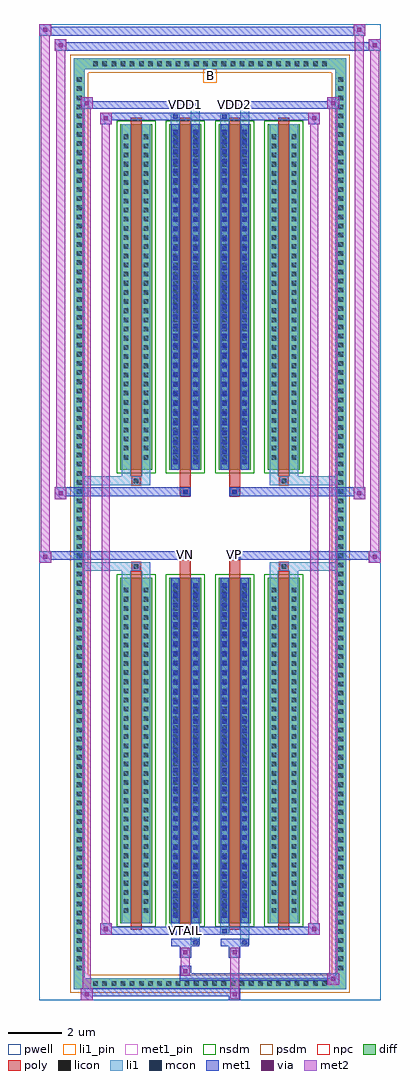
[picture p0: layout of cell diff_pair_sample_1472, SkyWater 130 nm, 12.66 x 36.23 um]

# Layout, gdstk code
import gdstk
lib = gdstk.Library(unit=1e-6, precision=5e-09)
def R(c, l, rs):  # rectangles x0, y0, x1, y1
    for r in rs: c.add(gdstk.rectangle(r[:2], r[2:], *l))
def A(c, l, x, y, w, h, nx, ny, dx, dy):  # array of equal rectangles
    R(c, l, [(x+i*dx, y+j*dy, x+i*dx+w, y+j*dy+h) for i in range(nx) for j in range(ny)])
def P(c, l, *ps):  # polygons
    for p in ps: c.add(gdstk.Polygon(p, *l))
pwell = (64, 44)
diff = (65, 20)
poly = (66, 20)
licon = (66, 44)
li1_pin = (67, 16)
li1 = (67, 20)
mcon = (67, 44)
met1_pin = (68, 16)
met1 = (68, 20)
via = (68, 44)
met2 = (69, 20)
nsdm = (93, 44)
psdm = (94, 20)
npc = (95, 20)

diff_pair_sample_1472 = lib.new_cell('diff_pair_sample_1472')
R(diff_pair_sample_1472, pwell, [(-6.33,-17.68,6.33,18.55), (-3.65,-15.87,-0.01,-0.815), (0.01,-15.87,3.65,-0.815), (-3.65,0.815,-0.01,15.87), (0.01,0.815,3.65,15.87)])
A(diff_pair_sample_1472, diff, -4.455, -17.28, 0.41, 0.41, 26, 2, 0.34, 34.15)
A(diff_pair_sample_1472, diff, -5.06, -16.695, 0.41, 0.41, 1, 98, 0, 0.34)
A(diff_pair_sample_1472, diff, 4.65, -16.695, 0.41, 0.41, 1, 98, 0, 0.34)
A(diff_pair_sample_1472, diff, -3.34, -14.825, 1.19, 12.82, 4, 2, 1.83, 16.83)
R(diff_pair_sample_1472, diff, [(-4.455,-17.28,4.455,-16.87), (-5.06,-16.695,-4.65,16.695), (4.65,-16.695,5.06,16.695), (-4.455,16.87,4.455,17.28)])
P(diff_pair_sample_1472, diff, [(5.06,17.28),(-5.06,17.28),(-5.06,-16.87),(-4.65,-16.87),(-4.65,16.87),(4.65,16.87),(4.65,-16.87),(-4.65,-16.87),(-5.06,-16.87),(-5.06,-17.28),(5.06,-17.28)])
A(diff_pair_sample_1472, poly, -2.95, -15.075, 0.41, 13.32, 4, 2, 1.83, 16.83)
R(diff_pair_sample_1472, poly, [(-2.91,-1.755,-2.58,-1.425), (-2.91,-1.755,-2.58,-1.425), (-1.12,-1.755,-0.71,-1.345), (0.71,-1.755,1.12,-1.345), (2.58,-1.755,2.91,-1.425), (2.58,-1.755,2.91,-1.425), (-1.12,-1.345,-0.71,-1.015), (-1.08,-1.345,-0.75,-1.015), (0.71,-1.345,1.12,-1.015), (0.75,-1.345,1.08,-1.015), (-1.12,1.015,-0.71,1.345), (-1.08,1.015,-0.75,1.345), (0.71,1.015,1.12,1.345), (0.75,1.015,1.08,1.345), (-1.12,1.345,-0.71,1.755), (0.71,1.345,1.12,1.755), (-2.91,1.425,-2.58,1.755), (-2.91,1.425,-2.58,1.755), (2.58,1.425,2.91,1.755), (2.58,1.425,2.91,1.755)])
A(diff_pair_sample_1472, licon, -4.335, -17.16, 0.17, 0.17, 26, 2, 0.34, 34.15)
A(diff_pair_sample_1472, licon, -4.94, -16.575, 0.17, 0.17, 1, 98, 0, 0.34)
A(diff_pair_sample_1472, licon, 4.77, -16.575, 0.17, 0.17, 1, 98, 0, 0.34)
A(diff_pair_sample_1472, licon, -3.2, -14.45, 0.17, 0.17, 1, 36, 0, 0.34)
A(diff_pair_sample_1472, licon, -2.46, -14.45, 0.17, 0.17, 1, 36, 0, 0.34)
A(diff_pair_sample_1472, licon, -1.37, -14.45, 0.17, 0.17, 1, 36, 0, 0.34)
A(diff_pair_sample_1472, licon, -0.63, -14.45, 0.17, 0.17, 1, 36, 0, 0.34)
A(diff_pair_sample_1472, licon, 0.46, -14.45, 0.17, 0.17, 1, 36, 0, 0.34)
A(diff_pair_sample_1472, licon, 1.2, -14.45, 0.17, 0.17, 1, 36, 0, 0.34)
A(diff_pair_sample_1472, licon, 2.29, -14.45, 0.17, 0.17, 1, 36, 0, 0.34)
A(diff_pair_sample_1472, licon, 3.03, -14.45, 0.17, 0.17, 1, 36, 0, 0.34)
A(diff_pair_sample_1472, licon, -3.2, 2.38, 0.17, 0.17, 1, 36, 0, 0.34)
A(diff_pair_sample_1472, licon, -2.46, 2.38, 0.17, 0.17, 1, 36, 0, 0.34)
A(diff_pair_sample_1472, licon, -1.37, 2.38, 0.17, 0.17, 1, 36, 0, 0.34)
A(diff_pair_sample_1472, licon, -0.63, 2.38, 0.17, 0.17, 1, 36, 0, 0.34)
A(diff_pair_sample_1472, licon, 0.46, 2.38, 0.17, 0.17, 1, 36, 0, 0.34)
A(diff_pair_sample_1472, licon, 1.2, 2.38, 0.17, 0.17, 1, 36, 0, 0.34)
A(diff_pair_sample_1472, licon, 2.29, 2.38, 0.17, 0.17, 1, 36, 0, 0.34)
A(diff_pair_sample_1472, licon, 3.03, 2.38, 0.17, 0.17, 1, 36, 0, 0.34)
R(diff_pair_sample_1472, licon, [(-2.83,-1.675,-2.66,-1.505), (2.66,-1.675,2.83,-1.505), (-1,-1.265,-0.83,-1.095), (0.83,-1.265,1,-1.095), (-1,1.095,-0.83,1.265), (0.83,1.095,1,1.265), (-2.83,1.505,-2.66,1.675), (2.66,1.505,2.83,1.675)])
R(diff_pair_sample_1472, li1_pin, [(-0.25,16.37,0.25,16.87)])
A(diff_pair_sample_1472, li1, -4.415, -17.24, 0.33, 0.33, 26, 2, 0.34, 34.15)
A(diff_pair_sample_1472, li1, -5.02, -16.655, 0.33, 0.33, 1, 98, 0, 0.34)
A(diff_pair_sample_1472, li1, 4.69, -16.655, 0.33, 0.33, 1, 98, 0, 0.34)
A(diff_pair_sample_1472, li1, -1.37, -14.62, 0.17, 0.17, 1, 35, 0, 0.36)
A(diff_pair_sample_1472, li1, -0.63, -14.62, 0.17, 0.17, 1, 35, 0, 0.36)
A(diff_pair_sample_1472, li1, 0.46, -14.62, 0.17, 0.17, 1, 35, 0, 0.36)
A(diff_pair_sample_1472, li1, 1.2, -14.62, 0.17, 0.17, 1, 35, 0, 0.36)
A(diff_pair_sample_1472, li1, -3.28, -14.53, 0.33, 0.33, 1, 36, 0, 0.34)
A(diff_pair_sample_1472, li1, -2.54, -14.53, 0.33, 0.33, 1, 36, 0, 0.34)
A(diff_pair_sample_1472, li1, -1.45, -14.53, 0.33, 0.33, 1, 36, 0, 0.34)
A(diff_pair_sample_1472, li1, -0.71, -14.53, 0.33, 0.33, 1, 36, 0, 0.34)
A(diff_pair_sample_1472, li1, 0.38, -14.53, 0.33, 0.33, 1, 36, 0, 0.34)
A(diff_pair_sample_1472, li1, 1.12, -14.53, 0.33, 0.33, 1, 36, 0, 0.34)
A(diff_pair_sample_1472, li1, 2.21, -14.53, 0.33, 0.33, 1, 36, 0, 0.34)
A(diff_pair_sample_1472, li1, 2.95, -14.53, 0.33, 0.33, 1, 36, 0, 0.34)
A(diff_pair_sample_1472, li1, -1.37, 2.21, 0.17, 0.17, 1, 35, 0, 0.36)
A(diff_pair_sample_1472, li1, -0.63, 2.21, 0.17, 0.17, 1, 35, 0, 0.36)
A(diff_pair_sample_1472, li1, 0.46, 2.21, 0.17, 0.17, 1, 35, 0, 0.36)
A(diff_pair_sample_1472, li1, 1.2, 2.21, 0.17, 0.17, 1, 35, 0, 0.36)
A(diff_pair_sample_1472, li1, -3.28, 2.3, 0.33, 0.33, 1, 36, 0, 0.34)
A(diff_pair_sample_1472, li1, -2.54, 2.3, 0.33, 0.33, 1, 36, 0, 0.34)
A(diff_pair_sample_1472, li1, -1.45, 2.3, 0.33, 0.33, 1, 36, 0, 0.34)
A(diff_pair_sample_1472, li1, -0.71, 2.3, 0.33, 0.33, 1, 36, 0, 0.34)
A(diff_pair_sample_1472, li1, 0.38, 2.3, 0.33, 0.33, 1, 36, 0, 0.34)
A(diff_pair_sample_1472, li1, 1.12, 2.3, 0.33, 0.33, 1, 36, 0, 0.34)
A(diff_pair_sample_1472, li1, 2.21, 2.3, 0.33, 0.33, 1, 36, 0, 0.34)
A(diff_pair_sample_1472, li1, 2.95, 2.3, 0.33, 0.33, 1, 36, 0, 0.34)
R(diff_pair_sample_1472, li1, [(-5.06,-17.28,-4.65,-16.87), (-5.06,-17.28,-4.65,-16.87), (-4.65,-17.28,4.65,-16.87), (4.65,-17.28,5.06,-16.87), (4.65,-17.28,5.06,-16.87), (-5.06,-16.87,-4.65,16.87), (4.65,-16.87,5.06,16.87), (-0.71,-15.63,-0.38,-14.825), (-0.63,-15.63,-0.46,-15.46), (1.12,-15.63,1.45,-14.825), (1.2,-15.63,1.37,-15.46), (-1.45,-15.2,-1.12,-14.825), (-1.37,-15.2,-1.2,-15.03), (0.38,-15.2,0.71,-14.825), (0.46,-15.2,0.63,-15.03), (-3.28,-14.825,-2.95,-2.005), (-2.54,-14.825,-2.21,-2.005), (-1.45,-14.825,-1.12,-2.005), (-0.71,-14.825,-0.38,-2.005), (0.38,-14.825,0.71,-2.005), (1.12,-14.825,1.45,-2.005), (2.21,-14.825,2.54,-2.005), (2.95,-14.825,3.28,-2.005), (-1.37,-14.62,-1.2,-2.21), (-0.63,-14.62,-0.46,-2.21), (0.46,-14.62,0.63,-2.21), (1.2,-14.62,1.37,-2.21), (-3.28,-2.005,-2.95,-1.425), (-2.54,-2.005,-2.21,-1.425), (2.21,-2.005,2.54,-1.425), (2.95,-2.005,3.28,-1.425), (-5.06,-1.755,-2.91,-1.425), (-3.28,-1.755,-2.91,-1.425), (-2.91,-1.755,-2.58,-1.425), (-2.58,-1.755,-2.21,-1.425), (2.21,-1.755,2.58,-1.425), (2.58,-1.755,2.91,-1.425), (2.58,-1.755,5.06,-1.425), (2.91,-1.755,3.28,-1.425), (-1.08,-1.345,-0.75,-1.015), (0.75,-1.345,1.08,-1.015), (-1.08,1.015,-0.75,1.345), (0.75,1.015,1.08,1.345), (-5.06,1.425,-2.91,1.755), (-3.28,1.425,-2.91,1.755), (-3.28,1.425,-2.95,2.005), (-2.91,1.425,-2.58,1.755), (-2.58,1.425,-2.21,1.755), (-2.54,1.425,-2.21,2.005), (2.21,1.425,2.58,1.755), (2.21,1.425,2.54,2.005), (2.58,1.425,2.91,1.755), (2.58,1.425,5.06,1.755), (2.91,1.425,3.28,1.755), (2.95,1.425,3.28,2.005), (-3.28,2.005,-2.95,14.825), (-2.54,2.005,-2.21,14.825), (-1.45,2.005,-1.12,14.825), (-0.71,2.005,-0.38,14.825), (0.38,2.005,0.71,14.825), (1.12,2.005,1.45,14.825), (2.21,2.005,2.54,14.825), (2.95,2.005,3.28,14.825), (-1.37,2.21,-1.2,14.62), (-0.63,2.21,-0.46,14.62), (0.46,2.21,0.63,14.62), (1.2,2.21,1.37,14.62), (-1.45,14.825,-1.12,15.2), (-0.71,14.825,-0.38,15.63), (0.38,14.825,0.71,15.2), (1.12,14.825,1.45,15.63), (-1.37,15.03,-1.2,15.2), (0.46,15.03,0.63,15.2), (-0.63,15.46,-0.46,15.63), (1.2,15.46,1.37,15.63), (-5.06,16.87,-4.65,17.28), (-5.06,16.87,-4.65,17.28), (-4.65,16.87,4.65,17.28), (4.65,16.87,5.06,17.28), (4.65,16.87,5.06,17.28)])
A(diff_pair_sample_1472, mcon, -1.37, -14.62, 0.17, 0.17, 1, 35, 0, 0.36)
A(diff_pair_sample_1472, mcon, -0.63, -14.62, 0.17, 0.17, 1, 35, 0, 0.36)
A(diff_pair_sample_1472, mcon, 0.46, -14.62, 0.17, 0.17, 1, 35, 0, 0.36)
A(diff_pair_sample_1472, mcon, 1.2, -14.62, 0.17, 0.17, 1, 35, 0, 0.36)
A(diff_pair_sample_1472, mcon, -1.37, 2.21, 0.17, 0.17, 1, 35, 0, 0.36)
A(diff_pair_sample_1472, mcon, -0.63, 2.21, 0.17, 0.17, 1, 35, 0, 0.36)
A(diff_pair_sample_1472, mcon, 0.46, 2.21, 0.17, 0.17, 1, 35, 0, 0.36)
A(diff_pair_sample_1472, mcon, 1.2, 2.21, 0.17, 0.17, 1, 35, 0, 0.36)
R(diff_pair_sample_1472, mcon, [(-0.63,-15.63,-0.46,-15.46), (1.2,-15.63,1.37,-15.46), (-1.37,-15.2,-1.2,-15.03), (0.46,-15.2,0.63,-15.03), (-1,-1.265,-0.83,-1.095), (0.83,-1.265,1,-1.095), (-1,1.095,-0.83,1.265), (0.83,1.095,1,1.265), (-1.37,15.03,-1.2,15.2), (0.46,15.03,0.63,15.2), (-0.63,15.46,-0.46,15.63), (1.2,15.46,1.37,15.63)])
R(diff_pair_sample_1472, met1_pin, [(-1.05,-15.24,-0.78,-14.97), (-1.05,-1.285,-0.78,-1.015), (0.78,-1.285,1.05,-1.015), (-1.05,15.42,-0.78,15.69), (0.78,15.42,1.05,15.69)])
A(diff_pair_sample_1472, met1, -1.43, -14.68, 0.29, 0.29, 1, 35, 0, 0.36)
A(diff_pair_sample_1472, met1, -0.69, -14.68, 0.29, 0.29, 1, 35, 0, 0.36)
A(diff_pair_sample_1472, met1, 0.4, -14.68, 0.29, 0.29, 1, 35, 0, 0.36)
A(diff_pair_sample_1472, met1, 1.14, -14.68, 0.29, 0.29, 1, 35, 0, 0.36)
A(diff_pair_sample_1472, met1, -1.43, 2.15, 0.29, 0.29, 1, 35, 0, 0.36)
A(diff_pair_sample_1472, met1, -0.69, 2.15, 0.29, 0.29, 1, 35, 0, 0.36)
A(diff_pair_sample_1472, met1, 0.4, 2.15, 0.29, 0.29, 1, 35, 0, 0.36)
A(diff_pair_sample_1472, met1, 1.14, 2.15, 0.29, 0.29, 1, 35, 0, 0.36)
R(diff_pair_sample_1472, met1, [(-4.79,-17.68,-4.36,-17.25), (0.7,-17.68,1.13,-17.25), (-4.79,-17.54,1.13,-17.25), (4.36,-17.11,4.79,-16.68), (-1.13,-16.97,4.79,-16.68), (-1.13,-16.83,-0.7,-16.4), (-1.13,-16.12,-0.7,-15.69), (0.7,-16.12,1.13,-15.69), (-1.43,-15.69,-0.4,-15.4), (-0.69,-15.69,-0.4,-15.4), (0.4,-15.69,1.43,-15.4), (1.14,-15.69,1.43,-15.4), (-4.08,-15.26,-3.65,-14.83), (-4.08,-15.26,-1.43,-14.97), (-1.43,-15.26,-1.14,-14.97), (-1.43,-15.26,-0.4,-14.97), (-0.4,-15.26,0.4,-14.97), (0.4,-15.26,0.69,-14.97), (0.4,-15.26,1.43,-14.97), (1.43,-15.26,4.08,-14.97), (3.65,-15.26,4.08,-14.83), (-1.43,-14.825,-1.14,-2.005), (-0.69,-14.825,-0.4,-2.005), (0.4,-14.825,0.69,-2.005), (1.14,-14.825,1.43,-2.005), (-6.33,-1.445,-5.9,-1.015), (5.9,-1.445,6.33,-1.015), (-6.33,-1.345,-0.71,-1.015), (-1.12,-1.345,-0.71,-1.015), (0.71,-1.345,1.12,-1.015), (0.71,-1.345,6.33,-1.015), (-1.06,-1.325,-0.77,-1.035), (0.77,-1.325,1.06,-1.035), (-5.76,0.915,-5.33,1.345), (5.33,0.915,5.76,1.345), (-5.76,1.015,-1.12,1.345), (-1.12,1.015,-0.71,1.345), (0.71,1.015,1.12,1.345), (1.12,1.015,5.76,1.345), (-1.06,1.035,-0.77,1.325), (0.77,1.035,1.06,1.325), (-1.43,2.005,-1.14,14.825), (-0.69,2.005,-0.4,14.825), (0.4,2.005,0.69,14.825), (1.14,2.005,1.43,14.825), (-4.08,14.83,-3.65,15.26), (3.65,14.83,4.08,15.26), (-4.08,14.97,-1.43,15.26), (-1.43,14.97,-1.14,15.26), (-1.43,14.97,-0.4,15.26), (-0.4,14.97,0.4,15.26), (0.4,14.97,0.69,15.26), (0.4,14.97,1.43,15.26), (1.43,14.97,4.08,15.26), (-4.79,15.4,-4.36,15.83), (-4.79,15.4,-1.43,15.69), (-1.43,15.4,-0.4,15.69), (-0.69,15.4,-0.4,15.69), (0.4,15.4,1.43,15.69), (1.14,15.4,1.43,15.69), (1.43,15.4,4.79,15.69), (4.36,15.4,4.79,15.83), (-5.76,17.55,-5.33,17.98), (-5.76,17.55,-3.65,17.88), (-3.65,17.55,3.65,17.88), (3.65,17.55,6.33,17.88), (5.9,17.55,6.33,17.98), (-6.33,18.12,-5.9,18.55), (-6.33,18.12,-3.65,18.45), (-3.65,18.12,3.65,18.45), (3.65,18.12,5.76,18.45), (5.33,18.12,5.76,18.55)])
R(diff_pair_sample_1472, via, [(-4.65,-17.54,-4.5,-17.39), (0.84,-17.54,0.99,-17.39), (4.5,-16.97,4.65,-16.82), (-0.99,-16.69,-0.84,-16.54), (-0.99,-15.98,-0.84,-15.83), (0.84,-15.98,0.99,-15.83), (-3.94,-15.12,-3.79,-14.97), (3.79,-15.12,3.94,-14.97), (-6.19,-1.305,-6.04,-1.155), (6.04,-1.305,6.19,-1.155), (-5.62,1.055,-5.47,1.205), (5.47,1.055,5.62,1.205), (-3.94,14.97,-3.79,15.12), (3.79,14.97,3.94,15.12), (-4.65,15.54,-4.5,15.69), (4.5,15.54,4.65,15.69), (-5.62,17.69,-5.47,17.84), (6.04,17.69,6.19,17.84), (-6.19,18.26,-6.04,18.41), (5.47,18.26,5.62,18.41)])
R(diff_pair_sample_1472, met2, [(-4.79,-17.68,-4.36,-17.25), (-4.72,-17.68,-4.43,15.83), (-4.43,-17.68,-4.36,-17.25), (-4.74,-17.63,-4.41,-17.3), (0.75,-17.63,1.08,-17.3), (0.75,-17.3,1.08,-16.07), (4.36,-17.11,4.79,-16.68), (4.43,-17.11,4.72,15.83), (4.72,-17.11,4.79,-16.68), (4.41,-17.06,4.74,-16.73), (-1.08,-16.78,-0.75,-16.45), (-1.08,-16.45,-0.75,-16.07), (-1.08,-16.07,-0.75,-15.74), (0.75,-16.07,1.08,-15.74), (-4.08,-15.26,-3.65,-14.83), (-4.01,-15.26,-3.72,15.26), (-3.72,-15.26,-3.65,-14.83), (3.65,-15.26,4.08,-14.83), (3.72,-15.26,4.01,15.26), (4.01,-15.26,4.08,-14.83), (-4.03,-15.21,-3.7,-14.88), (3.7,-15.21,4.03,-14.88), (-6.33,-1.445,-5.9,-1.015), (-6.28,-1.445,-5.95,18.55), (-5.95,-1.445,-5.9,-1.015), (5.9,-1.445,6.33,-1.015), (5.95,-1.445,6.28,17.98), (6.28,-1.445,6.33,-1.015), (-6.28,-1.395,-5.95,-1.065), (5.95,-1.395,6.28,-1.065), (-5.76,0.915,-5.33,1.345), (-5.71,0.915,-5.38,17.98), (-5.38,0.915,-5.33,1.345), (5.33,0.915,5.76,1.345), (5.38,0.915,5.71,18.55), (5.71,0.915,5.76,1.345), (-5.71,0.965,-5.38,1.295), (5.38,0.965,5.71,1.295), (-4.08,14.83,-3.65,15.26), (-3.72,14.83,-3.65,15.26), (3.65,14.83,4.08,15.26), (4.01,14.83,4.08,15.26), (-4.03,14.88,-3.7,15.21), (3.7,14.88,4.03,15.21), (-4.79,15.4,-4.36,15.83), (-4.43,15.4,-4.36,15.83), (4.36,15.4,4.79,15.83), (4.72,15.4,4.79,15.83), (-4.74,15.45,-4.41,15.78), (4.41,15.45,4.74,15.78), (-5.76,17.55,-5.33,17.98), (-5.38,17.55,-5.33,17.98), (5.9,17.55,6.33,17.98), (6.28,17.55,6.33,17.98), (-5.71,17.6,-5.38,17.93), (5.95,17.6,6.28,17.93), (-6.33,18.12,-5.9,18.55), (-5.95,18.12,-5.9,18.55), (5.33,18.12,5.76,18.55), (5.71,18.12,5.76,18.55), (-6.28,18.17,-5.95,18.5), (5.38,18.17,5.71,18.5)])
A(diff_pair_sample_1472, nsdm, -3.47, -14.955, 1.45, 13.08, 4, 2, 1.83, 16.83)
P(diff_pair_sample_1472, psdm, [(5.19,17.41),(-5.19,17.41),(-5.19,-16.74),(-4.52,-16.74),(-4.52,16.74),(4.52,16.74),(4.52,-16.74),(-4.52,-16.74),(-5.19,-16.74),(-5.19,-17.41),(5.19,-17.41)])
R(diff_pair_sample_1472, npc, [(-2.93,-1.775,-2.56,-1.405), (2.56,-1.775,2.93,-1.405), (-1.1,-1.365,-0.73,-0.995), (0.73,-1.365,1.1,-0.995), (-1.1,0.995,-0.73,1.365), (0.73,0.995,1.1,1.365), (-2.93,1.405,-2.56,1.775), (2.56,1.405,2.93,1.775)])
diff_pair_sample_1472.add(gdstk.Label('VTAIL', (-0.915,-15.105), layer=68, texttype=5))
diff_pair_sample_1472.add(gdstk.Label('VN', (-0.915,-1.15), layer=68, texttype=5))
diff_pair_sample_1472.add(gdstk.Label('VP', (0.915,-1.15), layer=68, texttype=5))
diff_pair_sample_1472.add(gdstk.Label('B', (0,16.62), layer=67, texttype=5))
diff_pair_sample_1472.add(gdstk.Label('VDD2', (0.915,15.555), layer=68, texttype=5))
diff_pair_sample_1472.add(gdstk.Label('VDD1', (-0.915,15.555), layer=68, texttype=5))

lib.write_gds('diff_pair_sample_1472.gds')
